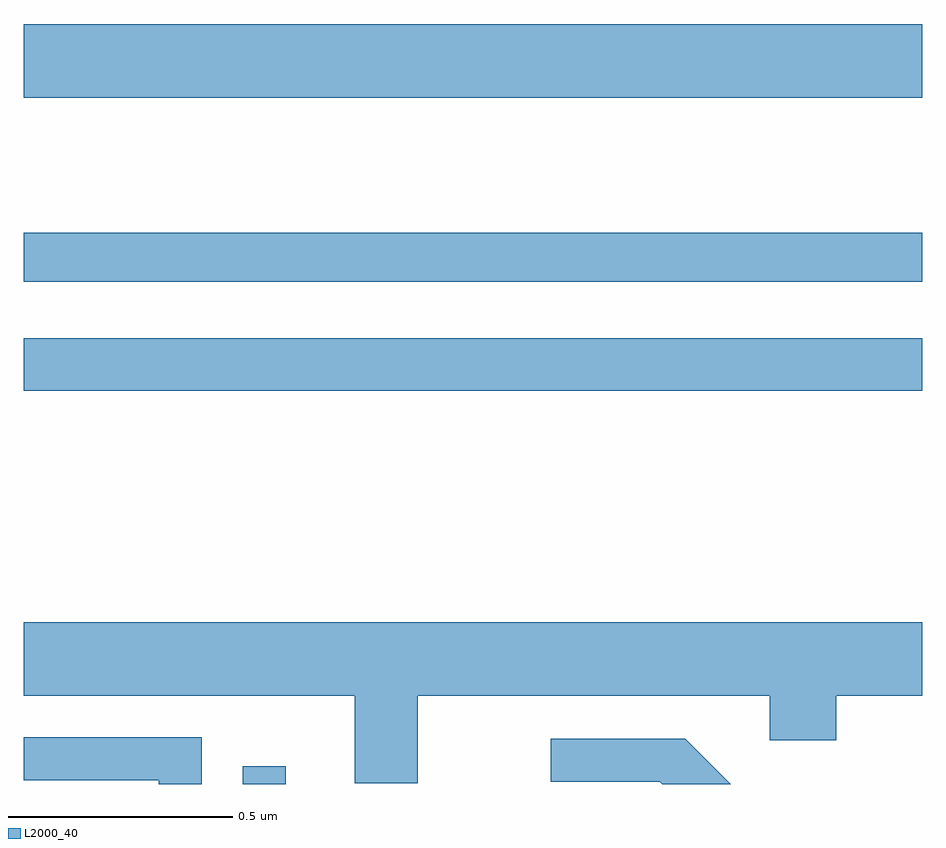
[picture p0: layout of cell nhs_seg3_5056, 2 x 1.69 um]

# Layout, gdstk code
import gdstk
lib = gdstk.Library(unit=1e-6, precision=1e-09)
def R(c, l, rs):  # rectangles x0, y0, x1, y1
    for r in rs: c.add(gdstk.rectangle(r[:2], r[2:], *l))
def P(c, l, *ps):  # polygons
    for p in ps: c.add(gdstk.Polygon(p, *l))
L2000_40 = (2000, 40)

nhs_seg3_5056 = lib.new_cell('nhs_seg3_5056')
R(nhs_seg3_5056, L2000_40, [(174.487,687.4,174.583,687.439), (174,688.276,176,688.392), (174,688.518,176,688.627), (174,688.928,176,689.092)])
P(nhs_seg3_5056, L2000_40, [(174.877,687.596),(175.661,687.596),(175.661,687.497),(175.809,687.497),(175.809,687.596),(176,687.596),(176,687.76),(174,687.76),(174,687.596),(174.737,687.596),(174.737,687.402),(174.877,687.402)],
  [(174.396,687.504),(174,687.504),(174,687.408),(174.3,687.408),(174.3,687.4),(174.396,687.4)],
  [(175.473,687.501),(175.173,687.501),(175.173,687.405),(175.416,687.405),(175.421,687.4),(175.574,687.4)])

lib.write_gds('nhs_seg3_5056.gds')
